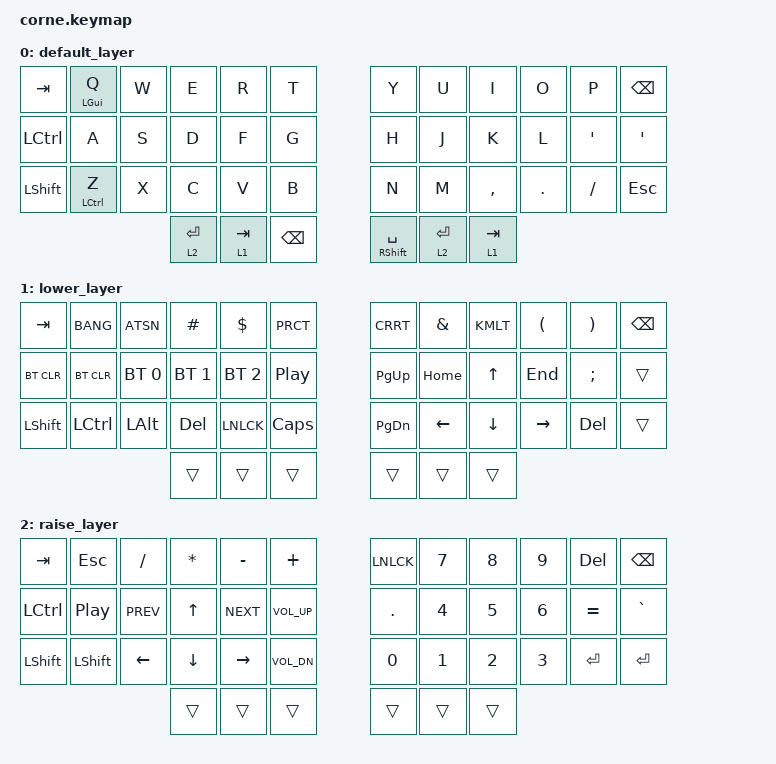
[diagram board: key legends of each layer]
/*
 * Copyright (c) 2020 The ZMK Contributors
 *
 * SPDX-License-Identifier: MIT
 */

#include <behaviors.dtsi>
#include <dt-bindings/zmk/keys.h>
#include <dt-bindings/zmk/bt.h>

/ {
        keymap {
                compatible = "zmk,keymap";

                default_layer {
// -----------------------------------------------------------------------------------------
// |  TAB |  Q  |  W  |  E  |  R  |  T  |   |  Y  |  U   |  I  |  O  |  P  | BKSP |
// | CTRL |  A  |  S  |  D  |  F  |  G  |   |  H  |  J   |  K  |  L  |  ;  |  '   |
// | SHFT |  Z  |  X  |  C  |  V  |  B  |   |  N  |  M   |  ,  |  .  |  /  | ESC  |
//                    | GUI | LWR | SPC |   | ENT | RSE  | ALT |
                        bindings = <
   &kp TAB   &mt LGUI Q &kp W &kp E &kp R &kp T   &kp Y &kp U  &kp I     &kp O   &kp P    &kp BSPC
   &kp LCTRL &kp A &kp S &kp D &kp F &kp G   &kp H &kp J  &kp K     &kp L   &kp SQT &kp SQT
   &kp LSHFT &mt LCTRL Z &kp X &kp C &kp V &kp B   &kp N &kp M  &kp COMMA &kp DOT &kp FSLH &kp ESC
                  &lt 2 RET &lt 1 TAB &kp BKSP   &mt RSHIFT SPC &lt 2 RET &lt 1 TAB
                        >;
                };
                lower_layer {
// -----------------------------------------------------------------------------------------
// |  TAB |  1  |  2  |  3  |  4  |  5  |   |  6  |  7  |  8  |  9  |  0  | BKSP |
// | BTCLR| BT1 | BT2 | BT3 | BT4 | BT5 |   | LFT | DWN |  UP | RGT |     |      |
// | SHFT |     |     |     |     |     |   |     |     |     |     |     |      |
//                    | GUI |     | SPC |   | ENT |     | ALT |
                        bindings = <
  &kp TAB    &kp BANG       &kp ATSN       &kp HASH       &kp DLLR       &kp PRCT         &kp CRRT   &kp AMPS   &kp KMLT &kp LPRN    &kp RPRN &kp BSPC
   &bt BT_CLR &bt BT_CLR &bt BT_SEL 0 &bt BT_SEL 1 &bt BT_SEL 2 &kp C_PP   &kp PG_UP &kp HOME &kp UP &kp END &kp SEMI &trans
   &kp LSHFT  &kp LCTRL       &kp LALT       &kp DEL       &kp LNLCK       &kp CAPS         &kp PG_DN   &kp LEFT   &kp DOWN &kp RIGHT    &kp DEL &trans
                          	        &trans     &trans       &trans      &trans  &trans   &trans
                        >;
                };

                raise_layer {
// -----------------------------------------------------------------------------------------
// |  TAB |  !  |  @  |  #  |  $  |  %  |   |  ^  |  &  |  *  |  (  |  )  | BKSP |
// | CTRL |     |     |     |     |     |   |  -  |  =  |  [  |  ]  |  \  |  `   |
// | SHFT |     |     |     |     |     |   |  _  |  +  |  {  |  }  | "|" |  ~   |
//                    | GUI |     | SPC |   | ENT |     | ALT |
                        bindings = <
   &kp  TAB  &kp ESC &kp FSLH &kp STAR &kp MINUS &kp PLUS   &kp LNLCK &kp NUM_7  &kp NUM_8 &kp NUM_9 &kp DEL &kp BSPC
   &kp LCTRL &kp C_PP   &kp C_PREV &kp UP   &kp C_NEXT   &kp C_VOL_UP      &kp DOT &kp NUM_4 &kp NUM_5        &kp NUM_6 &kp EQL &kp GRAVE
   &kp LSHFT &kp LSHFT   &kp LEFT &kp DOWN   &kp RIGHT   &kp C_VOL_DN      &kp NUM_0 &kp NUM_1  &kp NUM_2        &kp NUM_3 &kp RET &kp RET
                    	     &trans &trans   &trans   &trans   &trans    &trans
                        >;
                };
        };
};
